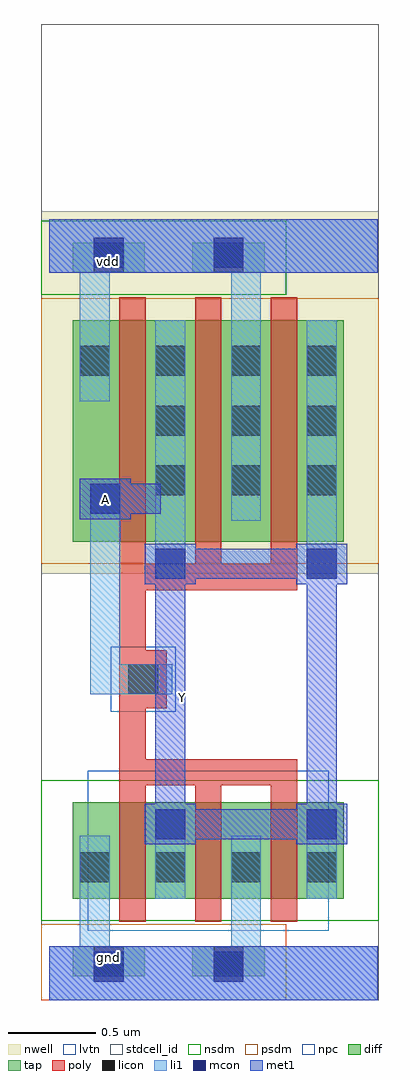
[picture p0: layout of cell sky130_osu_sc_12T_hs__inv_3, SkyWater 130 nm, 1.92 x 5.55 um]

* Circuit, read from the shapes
.subckt sky130_osu_sc_12T_hs__inv_3 A Y gnd vdd
XM1 Y A gnd gnd sky130_fd_pr__nfet_01v8_lvt w=0.55 l=0.15 m=3
XM2 Y A vdd vdd sky130_fd_pr__pfet_01v8 w=1.26 l=0.15 m=3
.ends

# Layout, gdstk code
import gdstk
lib = gdstk.Library(unit=1e-6, precision=1e-09)
def R(c, l, rs):  # rectangles x0, y0, x1, y1
    for r in rs: c.add(gdstk.rectangle(r[:2], r[2:], *l))
def A(c, l, x, y, w, h, nx, ny, dx, dy):  # array of equal rectangles
    R(c, l, [(x+i*dx, y+j*dy, x+i*dx+w, y+j*dy+h) for i in range(nx) for j in range(ny)])
nwell = (64, 20)
diff = (65, 20)
tap = (65, 44)
poly = (66, 20)
licon = (66, 44)
li1 = (67, 20)
mcon = (67, 44)
met1 = (68, 20)
stdcell_id = (81, 4)
nsdm = (93, 44)
psdm = (94, 20)
npc = (95, 20)
lvtn = (125, 44)

sky130_osu_sc_12t_hs__in = lib.new_cell('sky130_osu_sc_12T_hs__inv_3')
R(sky130_osu_sc_12t_hs__in, nwell, [(-0.045,2.425,1.875,4.485)])
R(sky130_osu_sc_12t_hs__in, diff, [(0.135,0.575,1.675,1.125), (0.135,2.605,1.675,3.865)])
R(sky130_osu_sc_12t_hs__in, tap, [(0.135,0.135,0.545,0.305), (0.815,0.135,1.225,0.305), (0.135,4.135,0.545,4.305), (0.815,4.135,1.225,4.305)])
A(sky130_osu_sc_12t_hs__in, poly, 0.4, 0.445, 0.15, 0.775, 3, 1, 0.43, 0)
A(sky130_osu_sc_12t_hs__in, poly, 0.4, 2.48, 0.15, 1.515, 3, 1, 0.43, 0)
R(sky130_osu_sc_12t_hs__in, poly, [(0.4,1.22,1.41,1.37), (0.4,1.37,0.55,1.66), (0.4,1.66,0.67,1.99), (0.4,1.99,0.55,2.33), (0.4,2.33,1.41,2.48)])
A(sky130_osu_sc_12t_hs__in, licon, 0.175, 0.67, 0.17, 0.17, 4, 2, 0.43, 2.88)
A(sky130_osu_sc_12t_hs__in, licon, 0.605, 2.87, 0.17, 0.17, 3, 2, 0.43, 0.34)
R(sky130_osu_sc_12t_hs__in, licon, [(0.255,0.135,0.425,0.305), (0.935,0.135,1.105,0.305), (0.45,1.74,0.62,1.91), (0.255,4.135,0.425,4.305), (0.935,4.135,1.105,4.305)])
R(sky130_osu_sc_12t_hs__in, li1, [(0,0,1.87,0.305), (0.175,0.305,0.345,0.935), (1.035,0.305,1.205,0.935), (0.605,0.575,0.775,1.085), (1.465,0.575,1.635,1.085), (0.235,1.74,0.7,1.91), (0.235,1.91,0.405,2.935), (0.605,2.395,0.775,3.865), (1.465,2.395,1.635,3.865), (1.035,2.725,1.205,4.135), (0.175,3.405,0.345,4.135), (0,4.135,1.87,4.44)])
R(sky130_osu_sc_12t_hs__in, mcon, [(0.255,0.105,0.425,0.275), (0.935,0.105,1.105,0.275), (0.605,0.915,0.775,1.085), (1.465,0.915,1.635,1.085), (0.605,2.395,0.775,2.565), (1.465,2.395,1.635,2.565), (0.235,2.765,0.405,2.935), (0.255,4.165,0.425,4.335), (0.935,4.165,1.105,4.335)])
R(sky130_osu_sc_12t_hs__in, met1, [(0,0,1.87,0.305), (0.545,0.885,0.835,0.915), (1.405,0.885,1.695,0.915), (0.545,0.915,1.695,1.085), (0.545,1.085,0.835,1.115), (1.405,1.085,1.695,1.115), (0.605,1.115,0.775,2.365), (1.465,1.115,1.635,2.365), (0.545,2.365,0.835,2.395), (1.405,2.365,1.695,2.395), (0.545,2.395,1.695,2.565), (0.545,2.565,0.835,2.595), (1.405,2.565,1.695,2.595), (0.175,2.735,0.465,2.765), (0.175,2.765,0.635,2.935), (0.175,2.935,0.465,2.965), (0,4.135,1.87,4.44)])
R(sky130_osu_sc_12t_hs__in, stdcell_id, [(-0.045,0,1.875,5.55)])
R(sky130_osu_sc_12t_hs__in, nsdm, [(-0.045,0.45,1.875,1.25), (-0.045,4.01,1.35,4.43)])
R(sky130_osu_sc_12t_hs__in, psdm, [(-0.045,0,1.35,0.43), (-0.045,2.48,1.875,3.99)])
R(sky130_osu_sc_12t_hs__in, npc, [(0.35,1.64,0.72,2.01)])
R(sky130_osu_sc_12t_hs__in, lvtn, [(0.22,0.395,1.59,1.305)])
sky130_osu_sc_12t_hs__in.add(gdstk.Label('gnd', (0.34,0.24), layer=68, texttype=16))
sky130_osu_sc_12t_hs__in.add(gdstk.Label('vdd', (0.34,4.2), layer=68, texttype=16))
sky130_osu_sc_12t_hs__in.add(gdstk.Label('Y', (0.76,1.72), layer=68, texttype=5))
sky130_osu_sc_12t_hs__in.add(gdstk.Label('A', (0.32,2.845), layer=68, texttype=5))

lib.write_gds('sky130_osu_sc_12T_hs__inv_3.gds')
